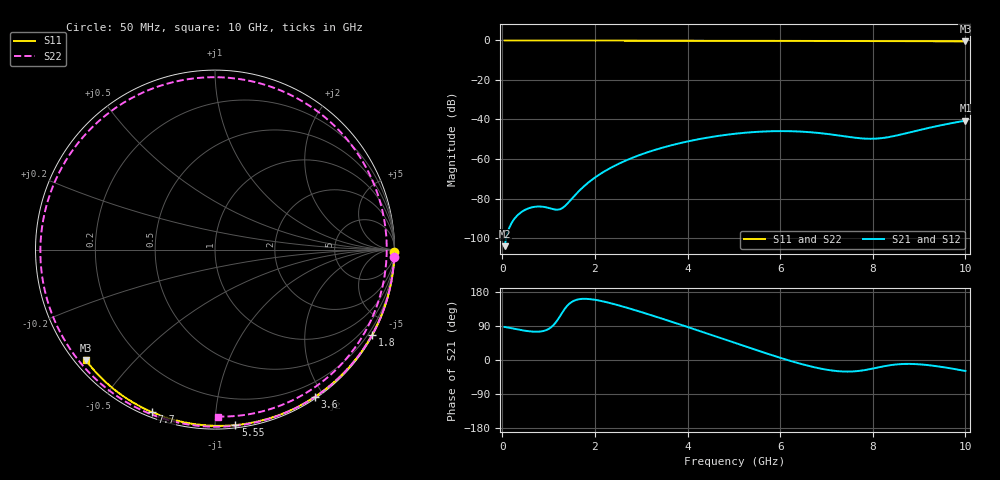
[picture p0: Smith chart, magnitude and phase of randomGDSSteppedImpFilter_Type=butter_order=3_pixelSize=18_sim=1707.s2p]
! freq	dB(S11)	phase(S11)	dB(S12)	phase(S12)
!  dB(S21)	phase(S21)	dB(S22)	phase(S22)
!S-par simulation data
#  GHz  S  DB  R 50
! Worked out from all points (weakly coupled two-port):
!   200 points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, 50 MHz to 10 GHz, reference 50 ohm
!   highest |S21| = -40.59 dB at 10 GHz (marker M1); lowest = -104.1 dB at 50 MHz (marker M2)
!   lowest |S11| = -0.5 dB at 10 GHz (marker M3), VSWR 36.91, Z = 1.54 - j18.5 ohm
!   |S11| at or under -10 dB: nowhere
!   |S22| runs from -0.6 to 0.0 dB; largest |S21 - S12| = 0
!   S11 on the Smith chart (normalised r, x): 50 MHz: open; 1.8 GHz: 0.03, -3.92; 3.6 GHz: 0.02, -1.88; 5.55 GHz: 0.02, -1.12; 7.7 GHz: 0.02, -0.68; 10 GHz: 0.03, -0.37
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0.05  -0.00 -0.8  -104.11 87.2  -104.11 87.2  -0.01 -2.2
0.7  -0.01 -11.3  -84.19 74.7  -84.19 74.7  -0.04 -30.4
1.5  -0.03 -23.9  -80.12 153.3  -80.12 153.3  -0.08 -64.4
1.75  -0.04 -27.9  -74.11 161.4  -74.11 161.4  -0.09 -74.9
1.8  -0.04 -28.6  -73.07 161.4  -73.07 161.4  -0.10 -77.0
2.15  -0.04 -34.1  -67.07 155.4  -67.07 155.4  -0.12 -91.5
2.55  -0.05 -40.2  -62.02 142.9  -62.02 142.9  -0.14 -108.1
2.95  -0.06 -46.3  -58.12 128.4  -58.12 128.4  -0.16 -124.7
3.4  -0.07 -53.0  -54.66 111.1  -54.66 111.1  -0.18 -143.5
3.6  -0.08 -55.9  -53.36 103.2  -53.36 103.2  -0.20 -152.0
4  -0.09 -61.7  -51.12 87.2  -51.12 87.2  -0.22 -169.3
4.35  -0.10 -66.7  -49.50 72.9  -49.50 72.9  -0.25 175.1
4.7  -0.11 -71.7  -48.19 58.5  -48.19 58.5  -0.27 158.9
5.05  -0.12 -76.5  -47.15 44.1  -47.15 44.1  -0.29 142.1
5.55  -0.14 -83.4  -46.19 23.6  -46.19 23.6  -0.33 117.0
6.15  -0.16 -91.4  -45.90 0.3  -45.90 0.3  -0.35 85.6
6.7  -0.19 -98.5  -46.54 -18.1  -46.54 -18.1  -0.36 56.3
7.2  -0.22 -104.9  -47.88 -28.9  -47.88 -28.9  -0.37 30.2
7.7  -0.25 -111.2  -49.44 -28.8  -49.44 -28.8  -0.38 5.3
8.35  -0.31 -119.3  -48.88 -14.2  -48.88 -14.2  -0.41 -24.5
9.15  -0.38 -129.0  -44.56 -12.9  -44.56 -12.9  -0.48 -57.4
10  -0.47 -139.4  -40.59 -28.9  -40.59 -28.9  -0.63 -88.9
